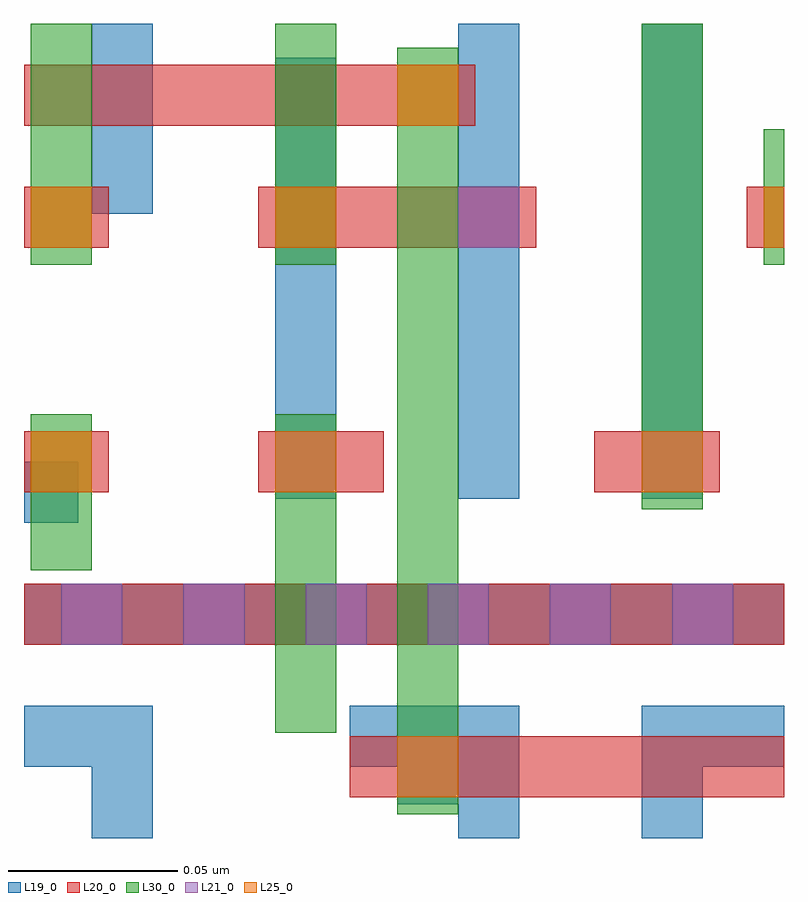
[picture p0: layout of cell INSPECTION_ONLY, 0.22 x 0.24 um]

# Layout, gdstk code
import gdstk
lib = gdstk.Library(unit=1e-6, precision=2.5e-10)
def R(c, l, rs):  # rectangles x0, y0, x1, y1
    for r in rs: c.add(gdstk.rectangle(r[:2], r[2:], *l))
def A(c, l, x, y, w, h, nx, ny, dx, dy):  # array of equal rectangles
    R(c, l, [(x+i*dx, y+j*dy, x+i*dx+w, y+j*dy+h) for i in range(nx) for j in range(ny)])
def P(c, l, *ps):  # polygons
    for p in ps: c.add(gdstk.Polygon(p, *l))
L19_0 = (19, 0)
L20_0 = (20, 0)
L21_0 = (21, 0)
L25_0 = (25, 0)
L30_0 = (30, 0)

inspection_only = lib.new_cell('INSPECTION_ONLY')
R(inspection_only, L19_0, [(9.612,4.534,9.63,4.556), (9.502,4.581,9.726,4.599), (9.502,4.581,9.726,4.599), (9.502,4.581,9.726,4.599), (9.502,4.581,9.666,4.599), (9.666,4.581,9.726,4.599), (9.502,4.617,9.518,4.635), (9.576,4.624,9.594,4.646), (9.576,4.624,9.594,4.754), (9.63,4.624,9.648,4.764), (9.684,4.624,9.702,4.646), (9.684,4.624,9.702,4.764), (9.63,4.696,9.648,4.718), (9.522,4.708,9.54,4.764)])
P(inspection_only, L19_0, [(9.684,4.524),(9.684,4.563),(9.726,4.563),(9.726,4.545),(9.702,4.545),(9.702,4.524)],
  [(9.522,4.524),(9.522,4.545),(9.502,4.545),(9.502,4.563),(9.54,4.563),(9.54,4.524)],
  [(9.63,4.524),(9.63,4.545),(9.598,4.545),(9.598,4.563),(9.648,4.563),(9.648,4.524)])
R(inspection_only, L20_0, [(9.598,4.536,9.726,4.554), (9.502,4.581,9.726,4.599), (9.502,4.626,9.527,4.644), (9.571,4.626,9.608,4.644), (9.67,4.626,9.707,4.644), (9.502,4.698,9.527,4.716), (9.571,4.698,9.653,4.716), (9.715,4.698,9.726,4.716), (9.502,4.734,9.635,4.752)])
A(inspection_only, L21_0, 9.513, 4.581, 0.018, 0.018, 6, 1, 0.036, 0)
R(inspection_only, L21_0, [(9.612,4.536,9.63,4.554), (9.576,4.626,9.594,4.644), (9.684,4.626,9.702,4.644), (9.63,4.698,9.648,4.716)])
R(inspection_only, L25_0, [(9.612,4.536,9.63,4.554), (9.504,4.626,9.522,4.644), (9.576,4.626,9.594,4.644), (9.684,4.626,9.702,4.644), (9.504,4.698,9.522,4.716), (9.576,4.698,9.594,4.716), (9.72,4.698,9.726,4.716), (9.612,4.734,9.63,4.752)])
R(inspection_only, L30_0, [(9.612,4.531,9.63,4.757), (9.576,4.555,9.594,4.649), (9.504,4.603,9.522,4.649), (9.684,4.621,9.702,4.764), (9.504,4.693,9.522,4.764), (9.576,4.693,9.594,4.764), (9.72,4.693,9.726,4.733)])

lib.write_gds('INSPECTION_ONLY.gds')
